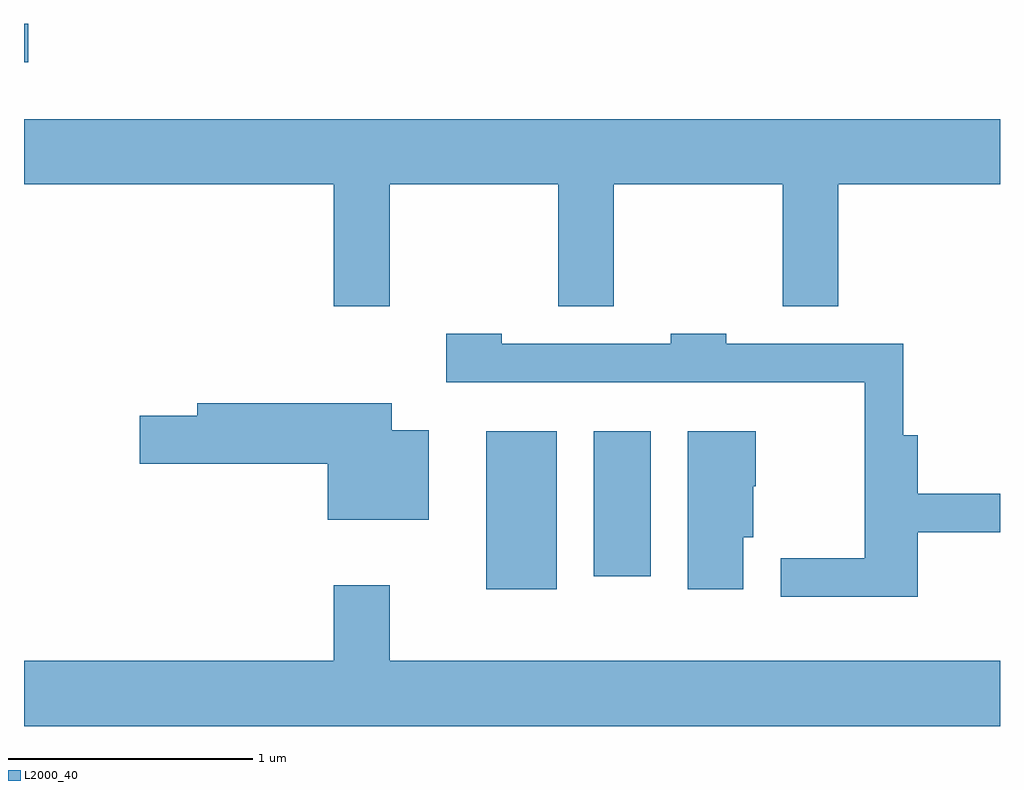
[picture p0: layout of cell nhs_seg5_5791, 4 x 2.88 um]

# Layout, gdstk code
import gdstk
lib = gdstk.Library(unit=1e-6, precision=1e-09)
def R(c, l, rs):  # rectangles x0, y0, x1, y1
    for r in rs: c.add(gdstk.rectangle(r[:2], r[2:], *l))
def P(c, l, *ps):  # polygons
    for p in ps: c.add(gdstk.Polygon(p, *l))
L2000_40 = (2000, 40)

nhs_seg5_5791 = lib.new_cell('nhs_seg5_5791')
R(nhs_seg5_5791, L2000_40, [(359.506,1397.416,359.794,1398.064), (359.946,1397.471,360.179,1398.064), (357.611,1399.576,357.628,1399.734)])
P(nhs_seg5_5791, L2000_40, [(359.109,1399.076),(359.801,1399.076),(359.801,1398.576),(360.029,1398.576),(360.029,1399.076),(360.721,1399.076),(360.721,1398.576),(360.949,1398.576),(360.949,1399.076),(361.611,1399.076),(361.611,1399.344),(357.611,1399.344),(357.611,1399.076),(358.881,1399.076),(358.881,1398.576),(359.109,1398.576)],
  [(361.274,1397.651),(361.611,1397.651),(361.611,1397.809),(361.274,1397.809),(361.274,1398.049),(361.214,1398.049),(361.214,1398.424),(360.489,1398.424),(360.489,1398.464),(360.261,1398.464),(360.261,1398.424),(359.569,1398.424),(359.569,1398.464),(359.341,1398.464),(359.341,1398.266),(361.056,1398.266),(361.056,1397.544),(360.713,1397.544),(360.713,1397.386),(361.274,1397.386)],
  [(359.269,1398.069),(359.119,1398.069),(359.119,1398.179),(358.321,1398.179),(358.321,1398.129),(358.086,1398.129),(358.086,1397.931),(358.856,1397.931),(358.856,1397.701),(359.269,1397.701)],
  [(360.559,1397.631),(360.599,1397.631),(360.599,1397.84),(360.609,1397.84),(360.609,1398.064),(360.331,1398.064),(360.331,1397.416),(360.559,1397.416)],
  [(361.611,1397.124),(359.109,1397.124),(359.109,1397.434),(358.881,1397.434),(358.881,1397.124),(357.611,1397.124),(357.611,1396.856),(361.611,1396.856)])

lib.write_gds('nhs_seg5_5791.gds')
